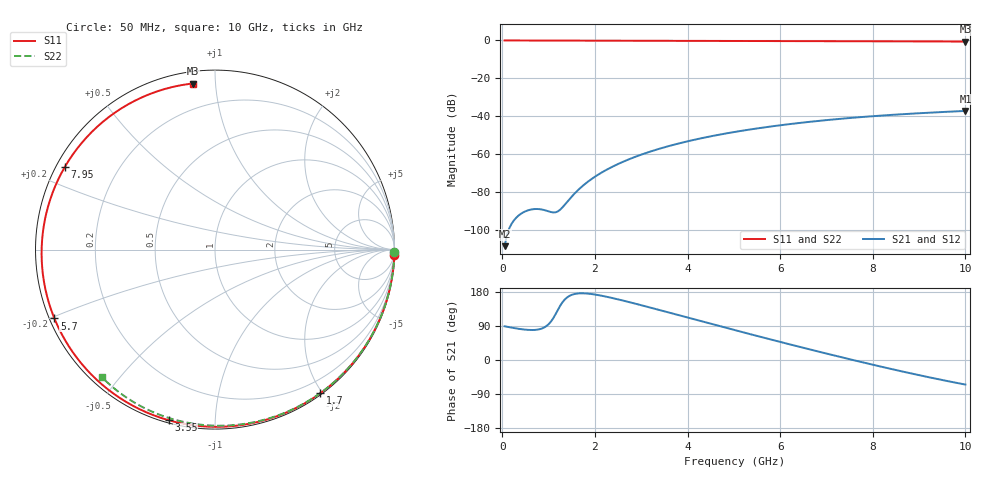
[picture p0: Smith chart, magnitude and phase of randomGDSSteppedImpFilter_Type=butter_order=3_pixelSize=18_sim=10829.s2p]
! freq	dB(S11)	phase(S11)	dB(S12)	phase(S12)
!  dB(S21)	phase(S21)	dB(S22)	phase(S22)
!S-par simulation data
#  GHz  S  DB  R 50
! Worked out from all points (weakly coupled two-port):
!   200 points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, 50 MHz to 10 GHz, reference 50 ohm
!   highest |S21| = -37.25 dB at 10 GHz (marker M1); lowest = -108.8 dB at 50 MHz (marker M2)
!   lowest |S11| = -0.6 dB at 10 GHz (marker M3), VSWR 29.13, Z = 3.03 + j43.6 ohm
!   |S11| at or under -10 dB: nowhere
!   |S22| runs from -0.4 to 0.0 dB; largest |S21 - S12| = 0
!   S11 on the Smith chart (normalised r, x): 50 MHz: 0, -70; 1.7 GHz: 0.02, -1.97; 3.55 GHz: 0.01, -0.76; 5.7 GHz: 0.01, -0.21; 7.95 GHz: 0.02, +0.26; 10 GHz: 0.06, +0.87
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0.05  -0.00 -1.6  -108.76 89.0  -108.76 89.0  -0.00 -0.8
0.4  -0.02 -13.0  -91.66 81.5  -91.66 81.5  -0.01 -6.1
0.8  -0.03 -25.8  -89.18 81.1  -89.18 81.1  -0.02 -12.1
1.2  -0.05 -38.4  -90.38 132.3  -90.38 132.3  -0.02 -18.1
1.6  -0.06 -50.7  -79.94 175.1  -79.94 175.1  -0.03 -24.0
1.7  -0.07 -53.8  -77.65 176.0  -77.65 176.0  -0.03 -25.5
1.75  -0.07 -55.3  -76.59 176.0  -76.59 176.0  -0.03 -26.2
2.05  -0.08 -64.1  -71.25 171.8  -71.25 171.8  -0.04 -30.6
2.45  -0.09 -75.6  -65.89 161.5  -65.89 161.5  -0.05 -36.4
2.9  -0.11 -88.1  -61.26 147.8  -61.26 147.8  -0.06 -42.9
3.4  -0.12 -101.4  -57.20 131.7  -57.20 131.7  -0.07 -49.9
3.55  -0.13 -105.2  -56.14 126.8  -56.14 126.8  -0.07 -52.0
4.25  -0.16 -122.7  -51.95 103.9  -51.95 103.9  -0.09 -61.6
5.05  -0.20 -141.8  -48.23 77.9  -48.23 77.9  -0.11 -72.2
5.7  -0.23 -156.8  -45.82 57.2  -45.82 57.2  -0.13 -80.6
6.2  -0.27 -168.2  -44.23 41.5  -44.23 41.5  -0.16 -86.9
6.7  -0.30 -179.6  -42.85 26.1  -42.85 26.1  -0.18 -93.1
7.35  -0.35 165.3  -41.32 6.5  -41.32 6.5  -0.22 -100.9
7.95  -0.40 151.1  -40.13 -11.0  -40.13 -11.0  -0.26 -108.0
8.35  -0.44 141.3  -39.44 -22.4  -39.44 -22.4  -0.29 -112.7
9.25  -0.52 118.2  -38.15 -46.5  -38.15 -46.5  -0.37 -123.0
10  -0.60 97.7  -37.25 -64.9  -37.25 -64.9  -0.44 -131.5
